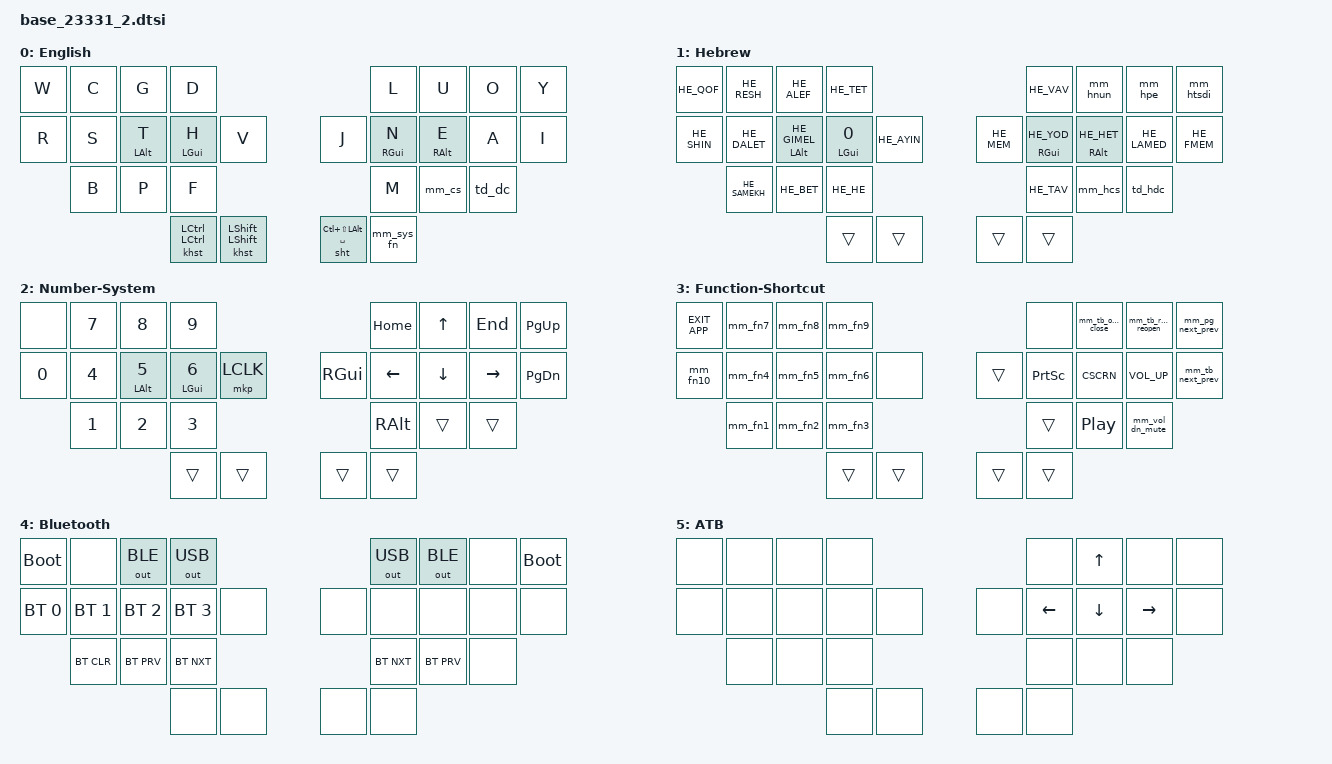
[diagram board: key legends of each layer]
/*
 * Copyright (c) 2020 The ZMK Contributors
 *
 * SPDX-License-Identifier: MIT
 */

#include <behaviors.dtsi>
#include <dt-bindings/zmk/bt.h>
#include <dt-bindings/zmk/keys.h>
#include <dt-bindings/zmk/outputs.h>
#include <dt-bindings/zmk/mouse.h>

// Hebrew Keymap
#include "hebrew.h"

// Extra Keys
#include "shortcut.h"

#define MEH LC(LS(LALT))
#define HYP LC(LS(LA(LGUI)))

// Behaviors Constants
#define long_tap 200
#define short_tap 150

// Combos Constants
#define cmb_lng 80
#define cmb_med 50
#define cmb_fst 20

// Layers
#define ENG     0
#define HEB     1
#define SYS     2
#define FUN     3
#define BLE     4
#define ATB     5

/*
* KEY POSITIONS
*         ╭─────────────────────────╮ ╭─────────────────────────╮
* HIGH:   │  LH4  LH3 LH2 LH1 [LH0] │ │ [RH0] RH1 RH2 RH3  RH4  │
* MIDDLE: │  LM4  LM3 LM2 LM1 [LM0] │ │ [RM0] RM1 RM2 RM3  RM4  │
* LOW:    │ [LL4] LL3 LL2 LL1 [LL0] │ │ [RL0] RL1 RL2 RL3 [RL4] │
* THUMB:  ╰───────────╮   LT1  LT0  │ │  RT0  RT1 ╭─────────────╯
*                     ╰─────────────╯ ╰───────────╯ 
*/

# define KEYS_L LH4 LH3 LH2 LH1 LM4 LM3 LM2 LM1 LL3 LL2 LL1
# define KEYS_R RH1 RH2 RH3 RH4 RM1 RM2 RM3 RM4 RL1 RL2 RL3

#include "_combos.dtsi"
#include "_behaviors.dtsi"
#include "_macros.dtsi"
// #include "_mouse.dtsi"

// Behavior Defaults
// Mod-Tap
&mt {
    tapping_term_ms = <200>;
    flavor = "tap-preferred";
};
// Sticky-Key
&sk {
    release-after-ms = <2000>;
    quick-release;
};

&caps_word { continue-list = <BACKSPACE DELETE UNDERSCORE MINUS BSPC DEL N1 N2 N3 N4 N5 N6 N7 N8 N9 N0>; };


/ {
    keymap {
        compatible = "zmk,keymap";
        ENG {
            display-name = "English";
            bindings = <
&kp W   &kp C   &kp G       &kp D                                                       &kp L       &kp U       &kp O   &kp Y
&kp R   &kp S   &hml LALT T &hml LGUI H         &kp V                   &kp J           &hmr RGUI N &hmr RALT E &kp A   &kp I
        &kp B   &kp P       &kp F                                                       &kp M       &mm_cs      &td_dc
                            &khst LCTRL LCTRL   &khst LSHFT LSHFT       &sht MEH SPACE  &mm_sys_fn
            >;
        };
        HEB {
            display-name = "Hebrew";
            bindings = <
&kp HE_QOF  &kp HE_RESH     &kp HE_ALEF         &kp HE_TET                                  &kp HE_VAV          &mm_hnun            &mm_hpe         &mm_htsdi
&kp HE_SHIN &kp HE_DALET    &hml LALT HE_GIMEL  &hml_h LGUI 0   &kp HE_AYIN     &kp HE_MEM  &hmr RGUI HE_YOD    &hmr RALT HE_HET    &kp HE_LAMED    &kp HE_FMEM
            &kp HE_SAMEKH   &kp HE_BET          &kp HE_HE                                   &kp HE_TAV          &mm_hcs             &td_hdc    
                                                &trans          &trans          &trans      &trans
            >;
        };

        SYS {
            display-name = "Number-System";
            bindings = <
&none   &kp N7  &kp N8          &kp N9                                      &kp HOME    &kp UP      &kp END     &kp PG_UP
&kp N0  &kp N4  &hml LALT N5    &hml LGUI N6    &mkp LCLK       &kp RGUI    &kp LEFT    &kp DOWN    &kp RIGHT   &kp PG_DN
        &kp N1  &kp N2          &kp N3                                      &kp RALT    &trans      &trans
                                &trans          &trans          &trans      &trans
            >;
        };

        FUN {
            display-name = "Function-Shortcut";
            bindings = <
&kp EXIT_APP    &mm_fn7 &mm_fn8 &mm_fn9                     &none       &mm_tb_open_close   &mm_tb_refresh_reopen   &mm_pg_next_prev
&mm_fn10        &mm_fn4 &mm_fn5 &mm_fn6 &none       &trans  &kp PSCRN   &kp CSCRN           &kp C_VOL_UP            &mm_tb_next_prev
                &mm_fn1 &mm_fn2 &mm_fn3                     &trans      &kp C_PP            &mm_vol_dn_mute
                                &trans  &trans      &trans  &trans
            >;
        };

        BLE {
            display-name = "Bluetooth";
            bindings = <
&bootloader     &none           &out OUT_BLE    &out OUT_USB                        &out OUT_USB    &out OUT_BLE    &none   &bootloader
&bt BT_SEL 0    &bt BT_SEL 1    &bt BT_SEL 2    &bt BT_SEL 3    &none       &none   &none           &none           &none   &none
                &bt BT_CLR      &bt BT_PRV      &bt BT_NXT                          &bt BT_NXT      &bt BT_PRV      &none
                                                &none           &none       &none   &none
            >;
        };

        ATB {
            bindings = <
&none   &none   &none   &none                       &none       &kp UP      &none       &none
&none   &none   &none   &none   &none       &none   &kp LEFT    &kp DOWN    &kp RIGHT   &none
        &none   &none   &none                       &none       &none       &none
                        &none   &none       &none   &none
            >;
        };
    };
};
